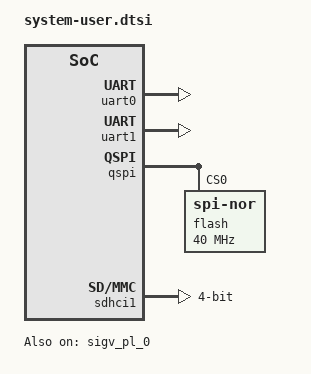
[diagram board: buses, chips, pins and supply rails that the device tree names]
/include/ "system-conf.dtsi"
/ {
	chosen {
		bootargs = "earlycon=cdns,mmio,0xff010000,115200n8 console=ttyPS1,115200 console=ttyPS0,115200 keep_bootcon cpuidle.off=1 maxcpus=2 root=/dev/ram0 rw";
		stdout-path = "serial1:115200n8";
	};

	aliases {
		mmc0 = &sdhci1;
		serial0 = &uart0;
		serial1 = &uart1;
	};
};

&uart0 {
	status = "okay";
};

&uart1 {
	status = "okay";
};

&qspi {
	flash@0 {
		compatible = "jedec,spi-nor";
		reg = <0>;
		spi-tx-bus-width = <4>;
		spi-rx-bus-width = <4>;
		spi-max-frequency = <40000000>;
		#address-cells = <1>;
		#size-cells = <1>;
	};
};

&sdhci1 {
	bus-width = <4>;
	disable-wp;
	no-1-8-v;
	broken-cd;
	status = "okay";
};

&sigv_pl_0 {
	compatible = "generic-uio";
	status = "okay";
};

&axi_bram_ctrl_message {
	compatible = "generic-uio";
	status = "okay";
};

&axi_bram_ctrl_job {
	compatible = "generic-uio";
	status = "okay";
};
